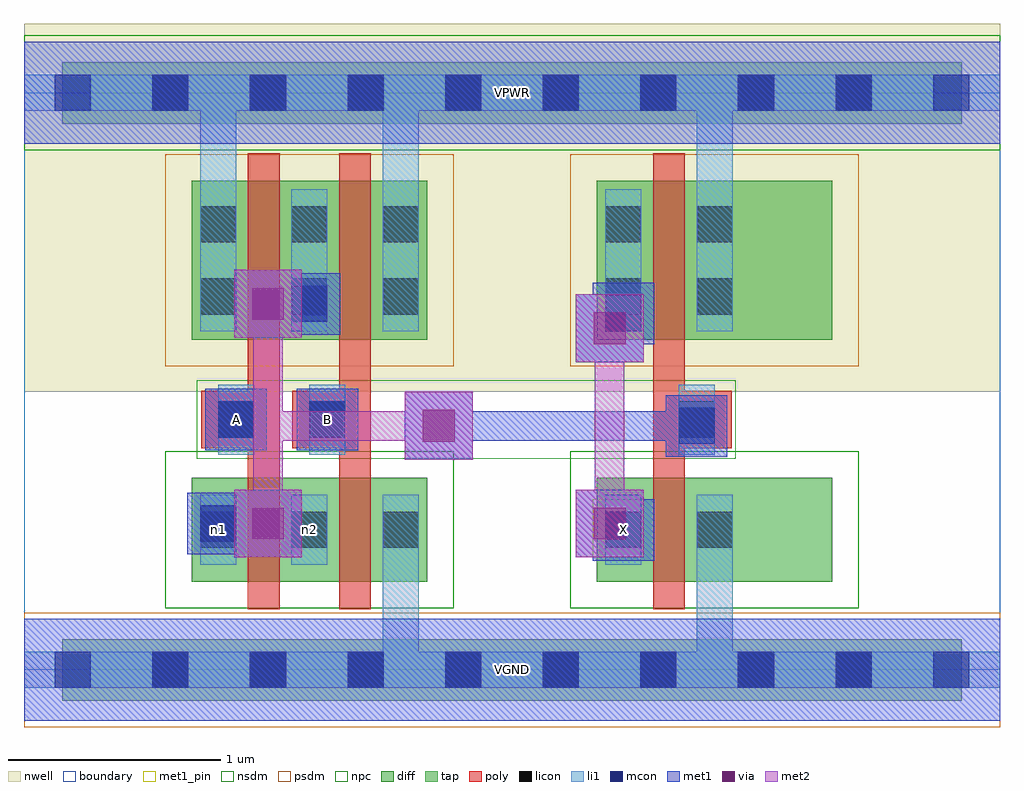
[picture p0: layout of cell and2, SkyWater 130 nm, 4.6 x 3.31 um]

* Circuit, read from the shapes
.subckt and2 A B VGND VPWR X n1 n2
XM1 n2 A n1 VGND sky130_fd_pr__nfet_01v8 w=0.49 l=0.15
XM2 VGND B n2 VGND sky130_fd_pr__nfet_01v8 w=0.49 l=0.15
XM3 VGND n1 X VGND sky130_fd_pr__nfet_01v8 w=0.49 l=0.15
XM4 n1 A VPWR VPWR sky130_fd_pr__pfet_01v8 w=0.75 l=0.15
XM5 VPWR B n1 VPWR sky130_fd_pr__pfet_01v8 w=0.75 l=0.15
XM6 VPWR n1 X VPWR sky130_fd_pr__pfet_01v8 w=0.75 l=0.15
.ends

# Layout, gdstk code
import gdstk
lib = gdstk.Library(unit=1e-6, precision=1e-09)
def R(c, l, rs):  # rectangles x0, y0, x1, y1
    for r in rs: c.add(gdstk.rectangle(r[:2], r[2:], *l))
def A(c, l, x, y, w, h, nx, ny, dx, dy):  # array of equal rectangles
    R(c, l, [(x+i*dx, y+j*dy, x+i*dx+w, y+j*dy+h) for i in range(nx) for j in range(ny)])
nwell = (64, 20)
diff = (65, 20)
tap = (65, 44)
poly = (66, 20)
licon = (66, 44)
li1 = (67, 20)
mcon = (67, 44)
met1_pin = (68, 16)
met1 = (68, 20)
via = (68, 44)
met2 = (69, 20)
nsdm = (93, 44)
psdm = (94, 20)
npc = (95, 20)
boundary = (235, 4)

and2 = lib.new_cell('and2')
R(and2, nwell, [(0,1.31,4.6,3.045)])
R(and2, diff, [(0.79,0.415,1.9,0.905), (2.7,0.415,3.81,0.905), (0.79,1.555,1.9,2.305), (2.7,1.555,3.81,2.305)])
R(and2, tap, [(0.18,-0.145,4.42,0.145), (0.18,2.575,4.42,2.865)])
R(and2, poly, [(1.055,0.285,1.205,2.435), (1.485,0.285,1.635,2.435), (2.965,0.285,3.115,2.435), (0.835,1.045,1.165,1.315), (1.265,1.045,1.595,1.315), (3.005,1.045,3.335,1.315)])
A(and2, licon, 0.605, -0.085, 0.17, 0.17, 8, 2, 0.46, 2.72)
A(and2, licon, 0.83, 0.575, 0.17, 0.17, 3, 2, 0.43, 1.1)
A(and2, licon, 0.83, 2.015, 0.17, 0.17, 3, 1, 0.43, 0)
R(and2, licon, [(2.74,0.575,2.91,0.745), (3.17,0.575,3.34,0.745), (0.915,1.095,1.085,1.265), (1.345,1.095,1.515,1.265), (3.085,1.095,3.255,1.265), (2.74,1.675,2.91,1.845), (3.17,1.675,3.34,1.845), (2.74,2.015,2.91,2.185), (3.17,2.015,3.34,2.185)])
A(and2, li1, 0.83, 0.495, 0.17, 0.33, 3, 1, 0.43, 0)
A(and2, li1, 0.83, 1.595, 0.17, 0.67, 3, 1, 0.43, 0)
R(and2, li1, [(0,-0.085,4.6,0.085), (1.69,-0.085,1.86,0.825), (3.17,-0.085,3.34,0.825), (2.74,0.495,2.91,0.825), (3.17,0.495,3.34,0.825), (0.915,1.015,1.085,1.345), (1.345,1.015,1.515,1.345), (3.085,1.015,3.255,1.345), (0.83,1.595,1,2.805), (1.69,1.595,1.86,2.805), (2.74,1.595,2.91,2.265), (3.17,1.595,3.34,2.265), (3.17,1.595,3.34,2.805), (0,2.635,4.6,2.805)])
A(and2, mcon, 0.145, -0.085, 0.17, 0.17, 10, 2, 0.46, 2.72)
R(and2, mcon, [(2.74,0.575,2.91,0.745), (0.83,0.605,1,0.775), (3.085,1.065,3.255,1.235), (0.915,1.095,1.085,1.265), (1.345,1.095,1.515,1.265), (2.74,1.595,2.91,1.765), (1.26,1.64,1.43,1.81)])
R(and2, met1_pin, [(0,-0.24,4.6,0.24), (2.68,0.515,2.97,0.805), (0.855,1.035,1.145,1.325), (1.285,1.035,1.575,1.325), (0,2.48,4.6,2.96)])
R(and2, met1, [(0,-0.24,4.6,0.24), (2.68,0.515,2.97,0.805), (0.99,0.53,1.31,0.85), (2.6,0.53,2.92,0.85), (0.77,0.545,1.06,0.835), (0.845,0.62,1.105,0.76), (0.965,0.62,1.22,0.76), (2.69,0.62,2.83,0.76), (1.795,0.99,2.115,1.31), (3.025,1.005,3.315,1.295), (0.855,1.035,1.145,1.325), (1.285,1.035,1.575,1.325), (1.885,1.08,3.06,1.22), (2.92,1.08,3.24,1.22), (2.6,1.45,2.92,1.77), (2.68,1.535,2.97,1.825), (2.69,1.54,2.83,1.75), (0.99,1.565,1.31,1.885), (1.2,1.58,1.49,1.87), (2.69,1.61,2.895,1.75), (1.08,1.655,1.415,1.795), (0,2.48,4.6,2.96)])
R(and2, via, [(1.075,0.615,1.225,0.765), (2.685,0.615,2.835,0.765), (1.88,1.075,2.03,1.225), (2.685,1.535,2.835,1.685), (1.075,1.65,1.225,1.8)])
R(and2, met2, [(0.99,0.53,1.31,0.85), (2.6,0.53,2.92,0.85), (1.08,0.62,1.22,1.795), (2.69,0.62,2.83,1.68), (1.795,0.99,2.115,1.31), (1.08,1.08,2.025,1.22), (2.6,1.45,2.92,1.77), (0.99,1.565,1.31,1.885)])
R(and2, nsdm, [(0.665,0.29,2.025,1.03), (2.575,0.29,3.935,1.03), (0,2.45,4.6,2.99)])
R(and2, psdm, [(0,-0.27,4.6,0.27), (0.665,1.43,2.025,2.43), (2.575,1.43,3.935,2.43)])
R(and2, npc, [(0.815,0.995,3.355,1.365)])
R(and2, boundary, [(0,0,4.6,2.72)])
and2.add(gdstk.Label('n1', (0.915,0.66), layer=67, texttype=5))
and2.add(gdstk.Label('n2', (1.345,0.66), layer=67, texttype=5))
and2.add(gdstk.Label('A', (1,1.18), layer=68, texttype=5))
and2.add(gdstk.Label('B', (1.43,1.18), layer=68, texttype=5))
and2.add(gdstk.Label('X', (2.825,0.66), layer=68, texttype=5))
and2.add(gdstk.Label('VPWR', (2.3,2.72), layer=68, texttype=5))
and2.add(gdstk.Label('VGND', (2.3,0), layer=68, texttype=5))
and2.add(gdstk.Label('A', (1,1.18), layer=68, texttype=16))
and2.add(gdstk.Label('B', (1.43,1.18), layer=68, texttype=16))
and2.add(gdstk.Label('X', (2.825,0.66), layer=68, texttype=16))
and2.add(gdstk.Label('VPWR', (2.3,2.72), layer=68, texttype=16))
and2.add(gdstk.Label('VGND', (2.3,0), layer=68, texttype=16))

lib.write_gds('and2.gds')
